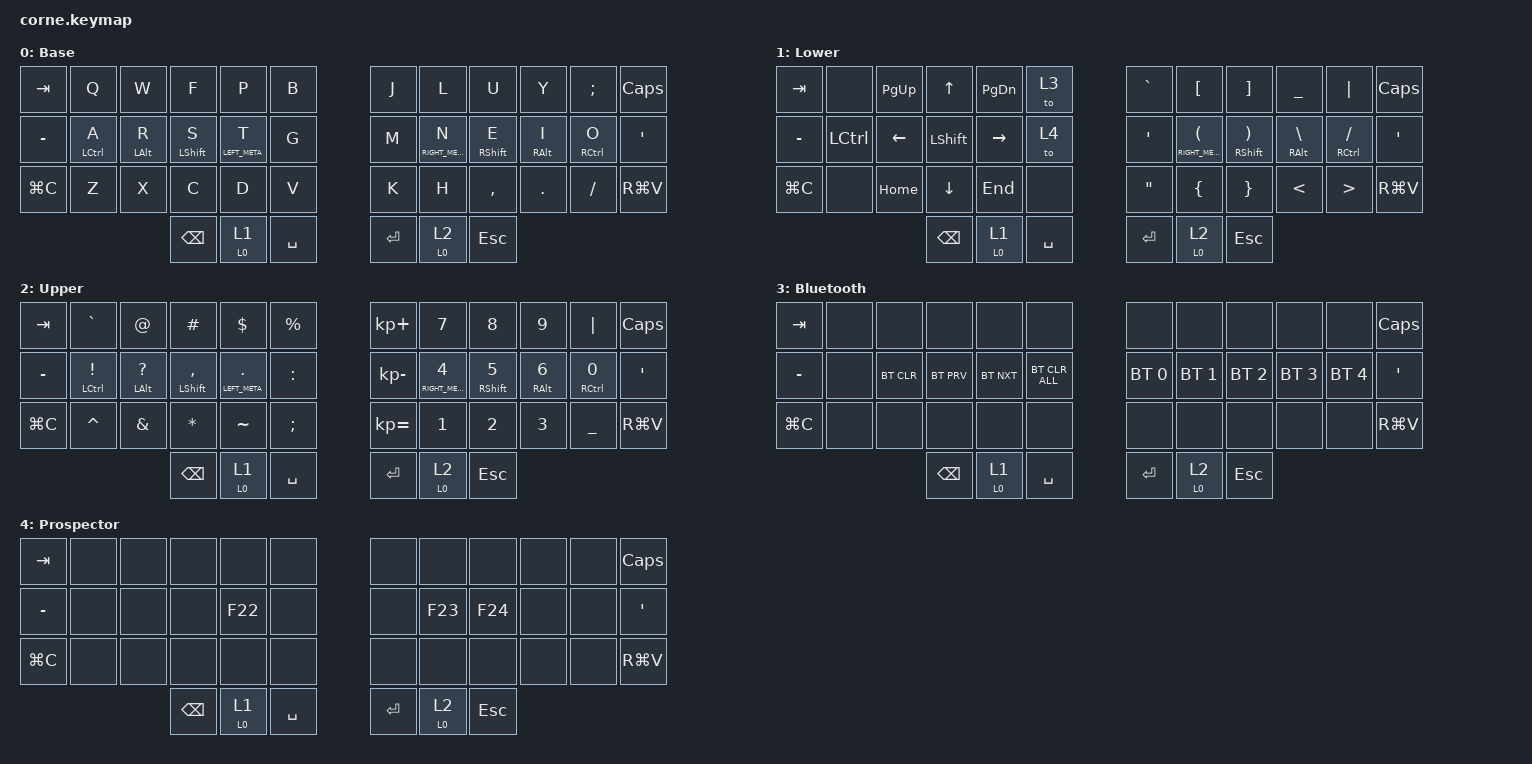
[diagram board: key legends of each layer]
/*
 * Copyright (c) 2020 The ZMK Contributors
 *
 * SPDX-License-Identifier: MIT
 */

#include <behaviors.dtsi>
#include <dt-bindings/zmk/bt.h>
#include <dt-bindings/zmk/keys.h>

/ {
    combos {
        compatible = "zmk,combos";

        reset_layer {
            bindings = <&to 0>;
            key-positions = <37 40>;
        };
    };

    behaviors {
        ll: ll {
            compatible = "zmk,behavior-hold-tap";
            label = "LL";
            bindings = <&to>, <&to>;

            #binding-cells = <2>;
            tapping-term-ms = <200>;
            flavor = "tap-preferred";
            quick-tap-ms = <175>;
            require-prior-idle-ms = <10>;
        };

        ht: ht {
            compatible = "zmk,behavior-hold-tap";
            label = "HT";
            bindings = <&kp>, <&kp>;

            #binding-cells = <2>;
            tapping-term-ms = <200>;
        };

        ht_l: ht_l {
            compatible = "zmk,behavior-hold-tap";
            label = "HT_L";
            bindings = <&kp>, <&kp>;

            #binding-cells = <2>;
            tapping-term-ms = <200>;
            quick-tap-ms = <175>;
            require-prior-idle-ms = <10>;
            flavor = "balanced";
            hold-trigger-on-release;
            hold-trigger-key-positions = <19 20 21 22>;
        };

        ht_r: ht_r {
            compatible = "zmk,behavior-hold-tap";
            label = "HT_R";
            bindings = <&kp>, <&kp>;

            #binding-cells = <2>;
            tapping-term-ms = <200>;
            quick-tap-ms = <175>;
            require-prior-idle-ms = <10>;
            flavor = "balanced";
            hold-trigger-on-release;
            hold-trigger-key-positions = <16 15 14 13>;
        };
    };

    keymap {
        compatible = "zmk,keymap";

        base_layer {
            // -----------------------------------------------------------------------------------------
            // |  TAB |  Q  |  W  |  E  |  R  |  T  |   |  Y  |  U   |  I  |  O  |  P  | BKSP |
            // | CTRL |  A  |  S  |  D  |  F  |  G  |   |  H  |  J   |  K  |  L  |  ;  |  '   |
            // | SHFT |  Z  |  X  |  C  |  V  |  B  |   |  N  |  M   |  ,  |  .  |  /  | ESC  |
            //                    | GUI | LWR | SPC |   | ENT | RSE  | ALT |

            display-name = "Base";
            bindings = <
&kp TAB    &kp Q                 &kp W             &kp F               &kp P              &kp B        &kp J    &kp L               &kp U                &kp Y              &kp SEMICOLON          &kp CAPSLOCK
&kp MINUS  &ht_l LEFT_CONTROL A  &ht_l LEFT_ALT R  &ht_l LEFT_SHIFT S  &ht_l LEFT_META T  &kp G        &kp M    &ht_r RIGHT_META N  &ht_r RIGHT_SHIFT E  &ht_r RIGHT_ALT I  &ht_r RIGHT_CONTROL O  &kp SINGLE_QUOTE
&kp LG(C)  &kp Z                 &kp X             &kp C               &kp D              &kp V        &kp K    &kp H               &kp COMMA            &kp DOT            &kp FSLH               &kp RG(V)
                                                   &kp BACKSPACE       &ll 0 1            &kp SPACE    &kp RET  &ll 0 2             &kp ESCAPE
            >;
        };

        lower_layer {
            // -----------------------------------------------------------------------------------------
            // |  TAB |  1  |  2  |  3  |  4  |  5  |   |  6  |  7  |  8  |  9  |  0  | BKSP |
            // | BTCLR| BT1 | BT2 | BT3 | BT4 | BT5 |   | LFT | DWN |  UP | RGT |     |      |
            // | SHFT |     |     |     |     |     |   |     |     |     |     |     |      |
            //                    | GUI |     | SPC |   | ENT |     | ALT |

            display-name = "Lower";
            bindings = <
&kp TAB    &none             &kp PAGE_UP     &kp UP_ARROW    &kp PAGE_DOWN    &to 3        &kp GRAVE          &kp LEFT_BRACKET                   &kp RIGHT_BRACKET                    &kp UNDERSCORE             &kp PIPE                   &kp CAPSLOCK
&kp MINUS  &kp LEFT_CONTROL  &kp LEFT_ARROW  &kp LEFT_SHIFT  &kp RIGHT_ARROW  &to 4        &kp SINGLE_QUOTE   &ht_r RIGHT_META LEFT_PARENTHESIS  &ht_r RIGHT_SHIFT RIGHT_PARENTHESIS  &ht_r RIGHT_ALT BACKSLASH  &ht_r RIGHT_CONTROL SLASH  &kp SINGLE_QUOTE
&kp LG(C)  &none             &kp HOME        &kp DOWN_ARROW  &kp END          &none        &kp DOUBLE_QUOTES  &kp LEFT_BRACE                     &kp RIGHT_BRACE                      &kp LESS_THAN              &kp GREATER_THAN           &kp RG(V)
                                             &kp BACKSPACE   &ll 0 1          &kp SPACE    &kp RET            &ll 0 2                            &kp ESCAPE
            >;
        };

        upper_layer {
            // -----------------------------------------------------------------------------------------
            // |  TAB |  !  |  @  |  #  |  $  |  %  |   |  ^  |  &  |  *  |  (  |  )  | BKSP |
            // | CTRL |     |     |     |     |     |   |  -  |  =  |  [  |  ]  |  \  |  `   |
            // | SHFT |     |     |     |     |     |   |  _  |  +  |  {  |  }  | "|" |  ~   |
            //                    | GUI |     | SPC |   | ENT |     | ALT |

            display-name = "Upper";
            bindings = <
&kp TAB    &kp GRAVE                       &kp AT_SIGN              &kp HASH                &kp DOLLAR              &kp PERCENT      &kp KP_PLUS   &kp NUMBER_7               &kp NUMBER_8                &kp NUMBER_9              &kp PIPE                      &kp CAPSLOCK
&kp MINUS  &ht_l LEFT_CONTROL EXCLAMATION  &ht_l LEFT_ALT QUESTION  &ht_l LEFT_SHIFT COMMA  &ht_l LEFT_META PERIOD  &kp COLON        &kp KP_MINUS  &ht_r RIGHT_META NUMBER_4  &ht_r RIGHT_SHIFT NUMBER_5  &ht_r RIGHT_ALT NUMBER_6  &ht_r RIGHT_CONTROL NUMBER_0  &kp SINGLE_QUOTE
&kp LG(C)  &kp CARET                       &kp AMPERSAND            &kp ASTERISK            &kp TILDE               &kp SEMICOLON    &kp KP_EQUAL  &kp NUMBER_1               &kp NUMBER_2                &kp NUMBER_3              &kp UNDERSCORE                &kp RG(V)
                                                                    &kp BACKSPACE           &ll 0 1                 &kp SPACE        &kp RET       &ll 0 2                    &kp ESCAPE
            >;
        };

        bluetooth_layer {
            display-name = "Bluetooth";
            bindings = <
&kp TAB    &none  &none       &none          &none       &none             &none         &none         &none         &none         &none         &kp CAPSLOCK
&kp MINUS  &none  &bt BT_CLR  &bt BT_PRV     &bt BT_NXT  &bt BT_CLR_ALL    &bt BT_SEL 0  &bt BT_SEL 1  &bt BT_SEL 2  &bt BT_SEL 3  &bt BT_SEL 4  &kp SINGLE_QUOTE
&kp LG(C)  &none  &none       &none          &none       &none             &none         &none         &none         &none         &none         &kp RG(V)
                              &kp BACKSPACE  &ll 0 1     &kp SPACE         &kp RET       &ll 0 2       &kp ESCAPE
            >;
        };

        prospector_layer {
            display-name = "Prospector";
            bindings = <
&kp TAB    &none  &none  &none          &none    &none        &none    &none    &none       &none  &none  &kp CAPSLOCK
&kp MINUS  &none  &none  &none          &kp F22  &none        &none    &kp F23  &kp F24     &none  &none  &kp SINGLE_QUOTE
&kp LG(C)  &none  &none  &none          &none    &none        &none    &none    &none       &none  &none  &kp RG(V)
                         &kp BACKSPACE  &ll 0 1  &kp SPACE    &kp RET  &ll 0 2  &kp ESCAPE
            >;
        };
    };
};
